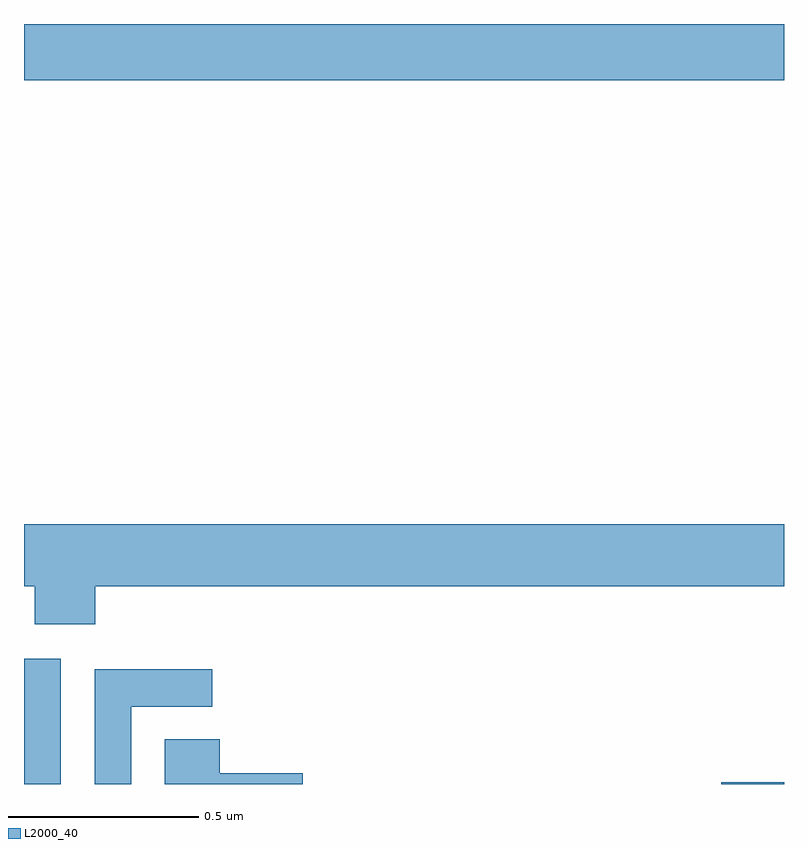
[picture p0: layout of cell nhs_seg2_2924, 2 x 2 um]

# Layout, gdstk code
import gdstk
lib = gdstk.Library(unit=1e-6, precision=1e-09)
def R(c, l, rs):  # rectangles x0, y0, x1, y1
    for r in rs: c.add(gdstk.rectangle(r[:2], r[2:], *l))
def P(c, l, *ps):  # polygons
    for p in ps: c.add(gdstk.Polygon(p, *l))
L2000_40 = (2000, 40)

nhs_seg2_2924 = lib.new_cell('nhs_seg2_2924')
R(nhs_seg2_2924, L2000_40, [(147,629.8,147.097,630.13), (148.835,629.8,149,629.804), (147,631.652,149,631.8)])
P(nhs_seg2_2924, L2000_40, [(147.188,630.32),(149,630.32),(149,630.484),(147,630.484),(147,630.32),(147.028,630.32),(147.028,630.221),(147.188,630.221)],
  [(147.282,630.003),(147.496,630.003),(147.496,630.102),(147.186,630.102),(147.186,629.8),(147.282,629.8)],
  [(147.733,629.828),(147.515,629.828),(147.515,629.918),(147.371,629.918),(147.371,629.8),(147.733,629.8)])

lib.write_gds('nhs_seg2_2924.gds')
